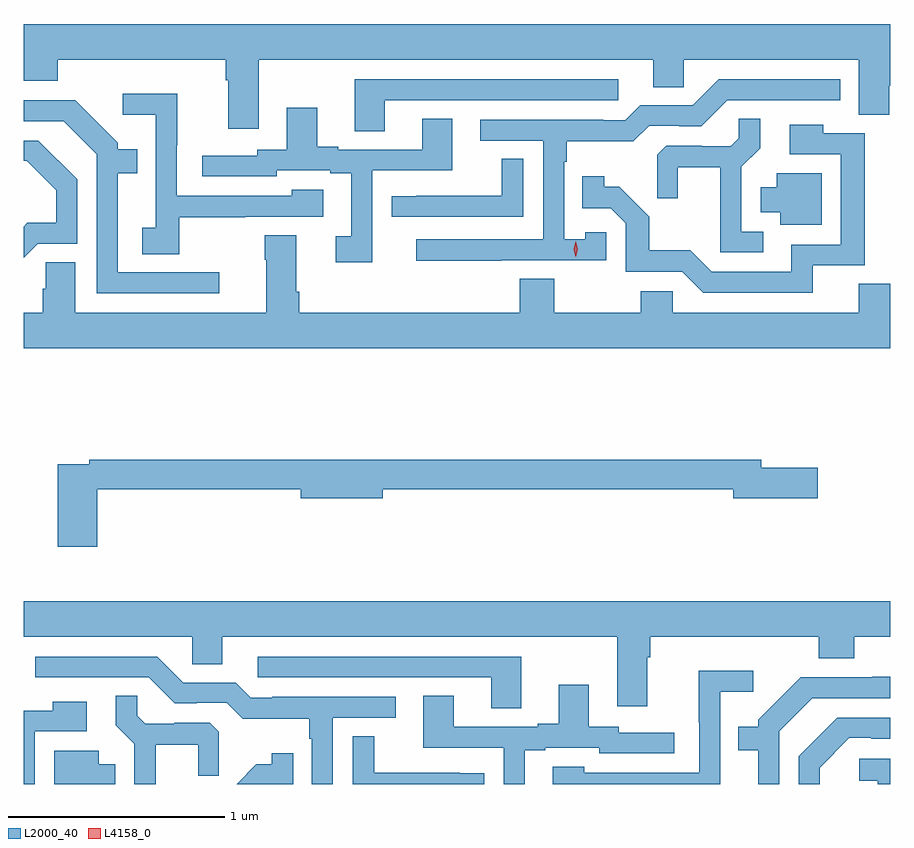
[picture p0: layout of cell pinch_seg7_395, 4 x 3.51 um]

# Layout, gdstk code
import gdstk
lib = gdstk.Library(unit=1e-6, precision=1e-09)
def P(c, l, *ps):  # polygons
    for p in ps: c.add(gdstk.Polygon(p, *l))
L2000_40 = (2000, 40)
L4158_0 = (4158, 0)

pinch_seg7_395 = lib.new_cell('pinch_seg7_395')
P(pinch_seg7_395, L2000_40, [(543.883,1012.604),(545.705,1012.604),(545.705,1012.477),(545.844,1012.477),(545.844,1012.604),(546.653,1012.604),(546.653,1012.348),(546.793,1012.348),(546.793,1012.482),(546.798,1012.482),(546.798,1012.768),(542.798,1012.768),(542.798,1012.505),(542.954,1012.505),(542.954,1012.604),(543.731,1012.604),(543.731,1012.508),(543.743,1012.508),(543.743,1012.284),(543.883,1012.284)],
  [(544.465,1012.416),(545.542,1012.416),(545.542,1012.512),(544.325,1012.512),(544.325,1012.273),(544.465,1012.273)],
  [(545.003,1011.678),(545.487,1011.678),(545.487,1011.807),(545.391,1011.807),(545.391,1011.775),(545.292,1011.775),(545.292,1012.133),(545.305,1012.133),(545.305,1012.226),(545.612,1012.226),(545.685,1012.299),(545.824,1012.299),(545.824,1012.296),(545.925,1012.296),(546.045,1012.416),(546.568,1012.416),(546.568,1012.512),(546.006,1012.512),(545.886,1012.392),(545.643,1012.392),(545.574,1012.323),(545.474,1012.323),(545.474,1012.326),(544.905,1012.326),(544.905,1012.23),(545.196,1012.23),(545.196,1011.774),(544.611,1011.774),(544.611,1011.676),(545.003,1011.676)],
  [(543.517,1011.877),(543.821,1011.877),(543.821,1011.879),(544.18,1011.879),(544.18,1012.003),(544.035,1012.003),(544.035,1011.975),(543.504,1011.975),(543.504,1012.208),(543.507,1012.208),(543.507,1012.447),(543.255,1012.447),(543.255,1012.349),(543.408,1012.349),(543.408,1011.828),(543.345,1011.828),(543.345,1011.706),(543.517,1011.706)],
  [(543.7,1011.621),(543.232,1011.621),(543.232,1012.08),(543.323,1012.08),(543.323,1012.189),(543.231,1012.189),(543.231,1012.221),(543.036,1012.416),(542.798,1012.416),(542.798,1012.32),(542.982,1012.32),(543.135,1012.167),(543.135,1011.525),(543.7,1011.525)],
  [(544.407,1012.092),(544.777,1012.092),(544.777,1012.331),(544.637,1012.331),(544.637,1012.188),(544.249,1012.188),(544.249,1012.201),(544.153,1012.201),(544.153,1012.381),(544.013,1012.381),(544.013,1012.188),(543.876,1012.188),(543.876,1012.161),(543.621,1012.161),(543.621,1012.065),(543.966,1012.065),(543.966,1012.092),(544.214,1012.092),(544.214,1012.08),(544.31,1012.08),(544.31,1011.789),(544.239,1011.789),(544.239,1011.669),(544.407,1011.669)],
  [(546.211,1011.81),(546.111,1011.81),(546.111,1012.109),(546.197,1012.195),(546.197,1012.331),(546.099,1012.331),(546.099,1012.24),(546.062,1012.203),(545.928,1012.203),(545.928,1012.206),(545.763,1012.206),(545.722,1012.165),(545.722,1011.963),(545.816,1011.963),(545.816,1012.106),(546.014,1012.106),(546.014,1011.714),(546.211,1011.714)],
  [(546.44,1011.654),(546.679,1011.654),(546.679,1012.263),(546.489,1012.263),(546.489,1012.303),(546.333,1012.303),(546.333,1012.167),(546.57,1012.167),(546.57,1011.75),(546.341,1011.75),(546.341,1011.624),(545.973,1011.624),(545.875,1011.723),(545.686,1011.723),(545.686,1011.878),(545.548,1012.016),(545.478,1012.016),(545.478,1012.066),(545.377,1012.066),(545.377,1011.918),(545.508,1011.918),(545.577,1011.849),(545.577,1011.624),(545.838,1011.624),(545.934,1011.528),(546.44,1011.528)],
  [(542.862,1011.753),(543.045,1011.753),(543.045,1012.051),(542.866,1012.23),(542.798,1012.23),(542.798,1012.137),(542.811,1012.137),(542.948,1012),(542.948,1011.85),(542.815,1011.85),(542.798,1011.833),(542.798,1011.69)],
  [(545.103,1012.145),(545.005,1012.145),(545.005,1011.975),(544.609,1011.975),(544.609,1011.974),(544.497,1011.974),(544.497,1011.879),(545.103,1011.879)],
  [(546.481,1012.078),(546.275,1012.078),(546.275,1012.015),(546.2,1012.015),(546.2,1011.899),(546.29,1011.899),(546.29,1011.842),(546.481,1011.842)],
  [(543.91,1011.793),(543.91,1011.68),(543.917,1011.68),(543.917,1011.436),(543.037,1011.436),(543.037,1011.668),(542.899,1011.668),(542.899,1011.546),(542.885,1011.546),(542.885,1011.436),(542.798,1011.436),(542.798,1011.272),(546.798,1011.272),(546.798,1011.569),(546.653,1011.569),(546.653,1011.436),(545.793,1011.436),(545.793,1011.534),(545.647,1011.534),(545.647,1011.436),(545.247,1011.436),(545.247,1011.593),(545.087,1011.593),(545.087,1011.436),(544.07,1011.436),(544.07,1011.532),(544.057,1011.532),(544.057,1011.793)],
  [(543.137,1010.62),(544.076,1010.62),(544.076,1010.578),(544.456,1010.578),(544.456,1010.62),(546.074,1010.62),(546.074,1010.578),(546.463,1010.578),(546.463,1010.72),(546.202,1010.72),(546.202,1010.756),(543.1,1010.756),(543.1,1010.736),(542.954,1010.736),(542.954,1010.355),(543.137,1010.355)],
  [(545.677,1009.844),(545.69,1009.844),(545.69,1009.94),(546.467,1009.94),(546.467,1009.841),(546.632,1009.841),(546.632,1009.94),(546.798,1009.94),(546.798,1010.104),(542.798,1010.104),(542.798,1009.94),(543.576,1009.94),(543.576,1009.813),(543.715,1009.813),(543.715,1009.94),(545.537,1009.94),(545.537,1009.62),(545.677,1009.62)],
  [(545.095,1009.848),(543.879,1009.848),(543.879,1009.752),(544.955,1009.752),(544.955,1009.609),(545.095,1009.609)],
  [(544.224,1009.566),(544.516,1009.566),(544.516,1009.662),(543.946,1009.662),(543.946,1009.659),(543.846,1009.659),(543.777,1009.728),(543.534,1009.728),(543.414,1009.848),(542.852,1009.848),(542.852,1009.752),(543.375,1009.752),(543.495,1009.632),(543.596,1009.632),(543.596,1009.635),(543.735,1009.635),(543.808,1009.562),(544.116,1009.562),(544.116,1009.469),(544.128,1009.469),(544.128,1009.26),(544.224,1009.26)],
  [(546.012,1009.685),(546.166,1009.685),(546.166,1009.783),(545.914,1009.783),(545.914,1009.544),(545.916,1009.544),(545.916,1009.311),(545.385,1009.311),(545.385,1009.339),(545.241,1009.339),(545.241,1009.26),(546.012,1009.26)],
  [(546.285,1009.503),(546.438,1009.656),(546.798,1009.656),(546.798,1009.754),(546.715,1009.754),(546.715,1009.752),(546.384,1009.752),(546.189,1009.557),(546.189,1009.525),(546.097,1009.525),(546.097,1009.416),(546.188,1009.416),(546.188,1009.26),(546.285,1009.26)],
  [(545.11,1009.416),(545.206,1009.416),(545.206,1009.428),(545.454,1009.428),(545.454,1009.401),(545.8,1009.401),(545.8,1009.497),(545.544,1009.497),(545.544,1009.524),(545.407,1009.524),(545.407,1009.717),(545.267,1009.717),(545.267,1009.537),(545.171,1009.537),(545.171,1009.524),(544.783,1009.524),(544.783,1009.667),(544.643,1009.667),(544.643,1009.428),(545.013,1009.428),(545.013,1009.26),(545.11,1009.26)],
  [(543.407,1009.442),(543.604,1009.442),(543.604,1009.299),(543.698,1009.299),(543.698,1009.501),(543.657,1009.542),(543.492,1009.542),(543.492,1009.539),(543.358,1009.539),(543.321,1009.576),(543.321,1009.667),(543.223,1009.667),(543.223,1009.531),(543.309,1009.445),(543.309,1009.26),(543.407,1009.26)],
  [(542.85,1009.503),(543.088,1009.503),(543.088,1009.639),(542.932,1009.639),(542.932,1009.599),(542.798,1009.599),(542.798,1009.26),(542.85,1009.26)],
  [(546.472,1009.336),(546.609,1009.473),(546.709,1009.473),(546.709,1009.47),(546.798,1009.47),(546.798,1009.566),(546.554,1009.566),(546.375,1009.387),(546.375,1009.26),(546.472,1009.26)],
  [(544.924,1009.31),(544.811,1009.31),(544.811,1009.311),(544.416,1009.311),(544.416,1009.481),(544.317,1009.481),(544.317,1009.26),(544.924,1009.26)],
  [(543.22,1009.351),(543.145,1009.351),(543.145,1009.414),(542.939,1009.414),(542.939,1009.26),(543.22,1009.26)],
  [(544.043,1009.402),(543.942,1009.402),(543.942,1009.352),(543.872,1009.352),(543.781,1009.26),(544.043,1009.26)],
  [(546.798,1009.377),(546.654,1009.377),(546.654,1009.274),(546.741,1009.274),(546.741,1009.26),(546.798,1009.26)])
P(pinch_seg7_395, L4158_0, [(545.346,1011.693),(545.346,1011.693),(545.336,1011.729),(545.346,1011.765),(545.346,1011.765),(545.346,1011.765),(545.356,1011.729),(545.346,1011.693)])

lib.write_gds('pinch_seg7_395.gds')
